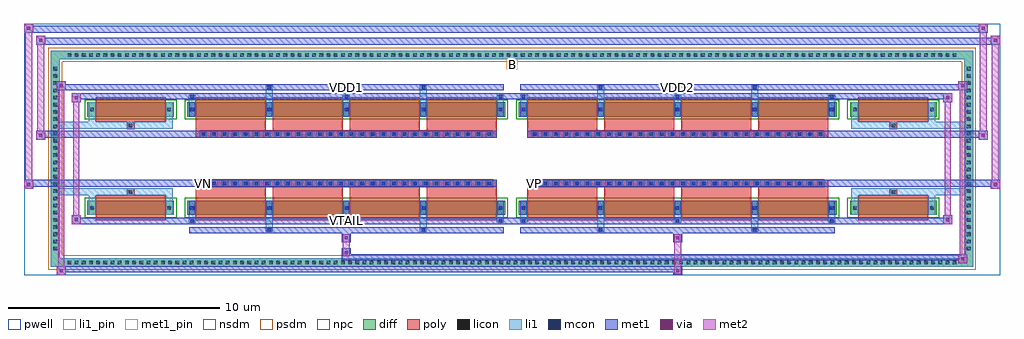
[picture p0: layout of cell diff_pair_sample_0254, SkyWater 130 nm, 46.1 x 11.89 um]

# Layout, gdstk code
import gdstk
lib = gdstk.Library(unit=1e-6, precision=5e-09)
def R(c, l, rs):  # rectangles x0, y0, x1, y1
    for r in rs: c.add(gdstk.rectangle(r[:2], r[2:], *l))
def A(c, l, x, y, w, h, nx, ny, dx, dy):  # array of equal rectangles
    R(c, l, [(x+i*dx, y+j*dy, x+i*dx+w, y+j*dy+h) for i in range(nx) for j in range(ny)])
def P(c, l, *ps):  # polygons
    for p in ps: c.add(gdstk.Polygon(p, *l))
pwell = (64, 44)
diff = (65, 20)
poly = (66, 20)
licon = (66, 44)
li1_pin = (67, 16)
li1 = (67, 20)
mcon = (67, 44)
met1_pin = (68, 16)
met1 = (68, 20)
via = (68, 44)
met2 = (69, 20)
nsdm = (93, 44)
psdm = (94, 20)
npc = (95, 20)

diff_pair_sample_0254 = lib.new_cell('diff_pair_sample_0254')
R(diff_pair_sample_0254, pwell, [(-23.05,-5.51,23.05,6.38), (-20.37,-3.7,-0.01,-0.8), (0.01,-3.7,20.37,-0.8), (-20.37,0.8,-0.01,3.7), (0.01,0.8,20.37,3.7)])
A(diff_pair_sample_0254, diff, -21.115, -5.11, 0.41, 0.41, 124, 2, 0.34, 9.81)
A(diff_pair_sample_0254, diff, -21.78, -4.455, 0.41, 0.41, 1, 26, 0, 0.34)
A(diff_pair_sample_0254, diff, 21.37, -4.455, 0.41, 0.41, 1, 26, 0, 0.34)
R(diff_pair_sample_0254, diff, [(-21.115,-5.11,21.115,-4.7), (-21.78,-4.455,-21.37,4.455), (21.37,-4.455,21.78,4.455), (-20.06,-2.655,-15.97,-1.985), (-15.33,-2.655,-0.32,-1.985), (0.32,-2.655,15.33,-1.985), (15.97,-2.655,20.06,-1.985), (-20.06,1.985,-15.97,2.655), (-15.33,1.985,-0.32,2.655), (0.32,1.985,15.33,2.655), (15.97,1.985,20.06,2.655), (-21.115,4.7,21.115,5.11)])
P(diff_pair_sample_0254, diff, [(21.78,5.11),(-21.78,5.11),(-21.78,-4.7),(-21.37,-4.7),(-21.37,4.7),(21.37,4.7),(21.37,-4.7),(-21.37,-4.7),(-21.78,-4.7),(-21.78,-5.11),(21.78,-5.11)])
A(diff_pair_sample_0254, poly, -14.94, -2.905, 3.31, 1.17, 4, 2, 3.64, 4.64)
A(diff_pair_sample_0254, poly, 0.71, -2.905, 3.31, 1.17, 4, 2, 3.64, 4.64)
A(diff_pair_sample_0254, poly, -14.94, -1.735, 3.31, 0.405, 4, 2, 3.64, 3.065)
A(diff_pair_sample_0254, poly, 0.71, -1.735, 3.31, 0.405, 4, 2, 3.64, 3.065)
A(diff_pair_sample_0254, poly, -14.74, -1.33, 0.33, 0.33, 28, 2, 0.5, 2.33)
A(diff_pair_sample_0254, poly, 0.91, -1.33, 0.33, 0.33, 28, 2, 0.5, 2.33)
R(diff_pair_sample_0254, poly, [(-19.67,-2.905,-16.36,-1.735), (16.36,-2.905,19.67,-1.735), (-18.18,-1.735,-17.85,-1.405), (-18.18,-1.735,-17.85,-1.405), (17.85,-1.735,18.18,-1.405), (17.85,-1.735,18.18,-1.405), (-14.94,-1.33,-0.71,-1), (0.71,-1.33,14.94,-1), (-14.94,1,-0.71,1.33), (0.71,1,14.94,1.33), (-18.18,1.405,-17.85,1.735), (-18.18,1.405,-17.85,1.735), (17.85,1.405,18.18,1.735), (17.85,1.405,18.18,1.735), (-19.67,1.735,-16.36,2.905), (16.36,1.735,19.67,2.905)])
A(diff_pair_sample_0254, licon, -20.995, -4.99, 0.17, 0.17, 124, 2, 0.34, 9.81)
A(diff_pair_sample_0254, licon, -21.66, -4.335, 0.17, 0.17, 1, 26, 0, 0.34)
A(diff_pair_sample_0254, licon, 21.49, -4.335, 0.17, 0.17, 1, 26, 0, 0.34)
A(diff_pair_sample_0254, licon, -15.19, -2.405, 0.17, 0.17, 5, 2, 3.64, 4.64)
A(diff_pair_sample_0254, licon, 0.46, -2.405, 0.17, 0.17, 5, 2, 3.64, 4.64)
A(diff_pair_sample_0254, licon, -14.66, -1.25, 0.17, 0.17, 28, 2, 0.5, 2.33)
A(diff_pair_sample_0254, licon, 0.99, -1.25, 0.17, 0.17, 28, 2, 0.5, 2.33)
R(diff_pair_sample_0254, licon, [(-19.92,-2.405,-19.75,-2.235), (-16.28,-2.405,-16.11,-2.235), (16.11,-2.405,16.28,-2.235), (19.75,-2.405,19.92,-2.235), (-18.1,-1.655,-17.93,-1.485), (17.93,-1.655,18.1,-1.485), (-18.1,1.485,-17.93,1.655), (17.93,1.485,18.1,1.655), (-19.92,2.235,-19.75,2.405), (-16.28,2.235,-16.11,2.405), (16.11,2.235,16.28,2.405), (19.75,2.235,19.92,2.405)])
R(diff_pair_sample_0254, li1_pin, [(-0.25,4.2,0.25,4.7)])
A(diff_pair_sample_0254, li1, -21.075, -5.07, 0.33, 0.33, 124, 2, 0.34, 9.81)
A(diff_pair_sample_0254, li1, -21.74, -4.415, 0.33, 0.33, 1, 26, 0, 0.34)
A(diff_pair_sample_0254, li1, 21.41, -4.415, 0.33, 0.33, 1, 26, 0, 0.34)
A(diff_pair_sample_0254, li1, -15.27, -3.03, 0.33, 0.375, 3, 2, 7.28, 5.685)
A(diff_pair_sample_0254, li1, -15.19, -3.03, 0.17, 0.17, 3, 2, 7.28, 5.89)
A(diff_pair_sample_0254, li1, 0.38, -3.03, 0.33, 0.375, 3, 2, 7.28, 5.685)
A(diff_pair_sample_0254, li1, 0.46, -3.03, 0.17, 0.17, 3, 2, 7.28, 5.89)
A(diff_pair_sample_0254, li1, -15.27, -2.655, 0.33, 0.67, 5, 2, 3.64, 4.64)
A(diff_pair_sample_0254, li1, 0.38, -2.655, 0.33, 0.67, 5, 2, 3.64, 4.64)
A(diff_pair_sample_0254, li1, -15.27, -2.485, 0.33, 0.33, 5, 2, 3.64, 4.64)
A(diff_pair_sample_0254, li1, 0.38, -2.485, 0.33, 0.33, 5, 2, 3.64, 4.64)
A(diff_pair_sample_0254, li1, -14.74, -1.33, 0.33, 0.33, 28, 2, 0.5, 2.33)
A(diff_pair_sample_0254, li1, 0.91, -1.33, 0.33, 0.33, 28, 2, 0.5, 2.33)
R(diff_pair_sample_0254, li1, [(-21.78,-5.11,-21.37,-4.7), (-21.78,-5.11,-21.37,-4.7), (-21.37,-5.11,21.37,-4.7), (21.37,-5.11,21.78,-4.7), (21.37,-5.11,21.78,-4.7), (-21.78,-4.7,-21.37,4.7), (21.37,-4.7,21.78,4.7), (-11.63,-3.46,-11.3,-2.655), (-11.55,-3.46,-11.38,-3.29), (-4.35,-3.46,-4.02,-2.655), (-4.27,-3.46,-4.1,-3.29), (4.02,-3.46,4.35,-2.655), (4.1,-3.46,4.27,-3.29), (11.3,-3.46,11.63,-2.655), (11.38,-3.46,11.55,-3.29), (-20,-2.655,-19.67,-1.985), (-16.36,-2.655,-16.03,-1.985), (16.03,-2.655,16.36,-1.985), (19.67,-2.655,20,-1.985), (-20,-2.485,-19.67,-2.155), (-16.36,-2.485,-16.03,-2.155), (16.03,-2.485,16.36,-2.155), (19.67,-2.485,20,-2.155), (-15.19,-2.405,-15.02,-2.235), (-15.19,-2.405,-15.02,-2.235), (-11.55,-2.405,-11.38,-2.235), (-11.55,-2.405,-11.38,-2.235), (-7.91,-2.405,-7.74,-2.235), (-7.91,-2.405,-7.74,-2.235), (-4.27,-2.405,-4.1,-2.235), (-4.27,-2.405,-4.1,-2.235), (-0.63,-2.405,-0.46,-2.235), (-0.63,-2.405,-0.46,-2.235), (0.46,-2.405,0.63,-2.235), (0.46,-2.405,0.63,-2.235), (4.1,-2.405,4.27,-2.235), (4.1,-2.405,4.27,-2.235), (7.74,-2.405,7.91,-2.235), (7.74,-2.405,7.91,-2.235), (11.38,-2.405,11.55,-2.235), (11.38,-2.405,11.55,-2.235), (15.02,-2.405,15.19,-2.235), (15.02,-2.405,15.19,-2.235), (-20,-1.985,-19.67,-1.405), (-16.36,-1.985,-16.03,-1.405), (16.03,-1.985,16.36,-1.405), (19.67,-1.985,20,-1.405), (-21.78,-1.735,-18.18,-1.405), (-20,-1.735,-18.18,-1.405), (-18.18,-1.735,-17.85,-1.405), (-17.85,-1.735,-16.03,-1.405), (16.03,-1.735,17.85,-1.405), (17.85,-1.735,18.18,-1.405), (17.85,-1.735,21.78,-1.405), (18.18,-1.735,20,-1.405), (-21.78,1.405,-18.18,1.735), (-20,1.405,-18.18,1.735), (-20,1.405,-19.67,1.985), (-18.18,1.405,-17.85,1.735), (-17.85,1.405,-16.03,1.735), (-16.36,1.405,-16.03,1.985), (16.03,1.405,17.85,1.735), (16.03,1.405,16.36,1.985), (17.85,1.405,18.18,1.735), (17.85,1.405,21.78,1.735), (18.18,1.405,20,1.735), (19.67,1.405,20,1.985), (-20,1.985,-19.67,2.655), (-16.36,1.985,-16.03,2.655), (16.03,1.985,16.36,2.655), (19.67,1.985,20,2.655), (-20,2.155,-19.67,2.485), (-16.36,2.155,-16.03,2.485), (16.03,2.155,16.36,2.485), (19.67,2.155,20,2.485), (-15.19,2.235,-15.02,2.405), (-15.19,2.235,-15.02,2.405), (-11.55,2.235,-11.38,2.405), (-11.55,2.235,-11.38,2.405), (-7.91,2.235,-7.74,2.405), (-7.91,2.235,-7.74,2.405), (-4.27,2.235,-4.1,2.405), (-4.27,2.235,-4.1,2.405), (-0.63,2.235,-0.46,2.405), (-0.63,2.235,-0.46,2.405), (0.46,2.235,0.63,2.405), (0.46,2.235,0.63,2.405), (4.1,2.235,4.27,2.405), (4.1,2.235,4.27,2.405), (7.74,2.235,7.91,2.405), (7.74,2.235,7.91,2.405), (11.38,2.235,11.55,2.405), (11.38,2.235,11.55,2.405), (15.02,2.235,15.19,2.405), (15.02,2.235,15.19,2.405), (-11.63,2.655,-11.3,3.46), (-4.35,2.655,-4.02,3.46), (4.02,2.655,4.35,3.46), (11.3,2.655,11.63,3.46), (-11.55,3.29,-11.38,3.46), (-4.27,3.29,-4.1,3.46), (4.1,3.29,4.27,3.46), (11.38,3.29,11.55,3.46), (-21.78,4.7,-21.37,5.11), (-21.78,4.7,-21.37,5.11), (-21.37,4.7,21.37,5.11), (21.37,4.7,21.78,5.11), (21.37,4.7,21.78,5.11)])
A(diff_pair_sample_0254, mcon, -15.19, -3.03, 0.17, 0.17, 3, 2, 7.28, 5.89)
A(diff_pair_sample_0254, mcon, 0.46, -3.03, 0.17, 0.17, 3, 2, 7.28, 5.89)
A(diff_pair_sample_0254, mcon, -15.19, -2.405, 0.17, 0.17, 5, 2, 3.64, 4.64)
A(diff_pair_sample_0254, mcon, 0.46, -2.405, 0.17, 0.17, 5, 2, 3.64, 4.64)
A(diff_pair_sample_0254, mcon, -14.66, -1.25, 0.17, 0.17, 28, 2, 0.5, 2.33)
A(diff_pair_sample_0254, mcon, 0.99, -1.25, 0.17, 0.17, 28, 2, 0.5, 2.33)
R(diff_pair_sample_0254, mcon, [(-11.55,-3.46,-11.38,-3.29), (-4.27,-3.46,-4.1,-3.29), (4.1,-3.46,4.27,-3.29), (11.38,-3.46,11.55,-3.29), (-11.55,3.29,-11.38,3.46), (-4.27,3.29,-4.1,3.46), (4.1,3.29,4.27,3.46), (11.38,3.29,11.55,3.46)])
R(diff_pair_sample_0254, met1_pin, [(-7.96,-3.07,-7.69,-2.8), (-14.71,-1.29,-14.44,-1.02), (0.94,-1.29,1.21,-1.02), (-7.96,3.25,-7.69,3.52), (7.69,3.25,7.96,3.52)])
A(diff_pair_sample_0254, met1, -15.25, -3.09, 0.29, 0.29, 3, 2, 7.28, 5.89)
A(diff_pair_sample_0254, met1, 0.4, -3.09, 0.29, 0.29, 3, 2, 7.28, 5.89)
A(diff_pair_sample_0254, met1, -15.25, -2.655, 0.29, 0.67, 5, 2, 3.64, 4.64)
A(diff_pair_sample_0254, met1, 0.4, -2.655, 0.29, 0.67, 5, 2, 3.64, 4.64)
A(diff_pair_sample_0254, met1, -15.25, -2.465, 0.29, 0.29, 5, 2, 3.64, 4.64)
A(diff_pair_sample_0254, met1, 0.4, -2.465, 0.29, 0.29, 5, 2, 3.64, 4.64)
A(diff_pair_sample_0254, met1, -14.72, -1.31, 0.29, 0.29, 28, 2, 0.5, 2.33)
A(diff_pair_sample_0254, met1, 0.93, -1.31, 0.29, 0.29, 28, 2, 0.5, 2.33)
R(diff_pair_sample_0254, met1, [(-21.51,-5.51,-21.08,-5.08), (7.61,-5.51,8.04,-5.08), (-21.51,-5.37,8.04,-5.08), (21.08,-4.94,21.51,-4.51), (-8.04,-4.8,21.51,-4.51), (-8.04,-4.66,-7.61,-4.23), (-8.04,-3.95,-7.61,-3.52), (7.61,-3.95,8.04,-3.52), (-15.25,-3.52,-0.4,-3.23), (-11.61,-3.52,-11.32,-3.23), (-4.33,-3.52,-4.04,-3.23), (0.4,-3.52,15.25,-3.23), (4.04,-3.52,4.33,-3.23), (11.32,-3.52,11.61,-3.23), (-20.8,-3.09,-20.37,-2.66), (-20.8,-3.09,-15.25,-2.8), (-15.25,-3.09,-0.4,-2.8), (-0.4,-3.09,0.4,-2.8), (0.4,-3.09,15.25,-2.8), (15.25,-3.09,20.8,-2.8), (20.37,-3.09,20.8,-2.66), (-23.05,-1.43,-22.62,-1), (22.62,-1.43,23.05,-1), (-23.05,-1.33,-0.71,-1), (-14.94,-1.33,-0.71,-1), (0.71,-1.33,14.94,-1), (0.71,-1.33,23.05,-1), (-22.48,0.9,-22.05,1.33), (22.05,0.9,22.48,1.33), (-22.48,1,-14.94,1.33), (-14.94,1,-0.71,1.33), (0.71,1,14.94,1.33), (14.94,1,22.48,1.33), (-20.8,2.66,-20.37,3.09), (20.37,2.66,20.8,3.09), (-20.8,2.8,-15.25,3.09), (-15.25,2.8,-0.4,3.09), (-0.4,2.8,0.4,3.09), (0.4,2.8,15.25,3.09), (15.25,2.8,20.8,3.09), (-21.51,3.23,-21.08,3.66), (-21.51,3.23,-15.25,3.52), (-15.25,3.23,-0.4,3.52), (-11.61,3.23,-11.32,3.52), (-4.33,3.23,-4.04,3.52), (0.4,3.23,15.25,3.52), (4.04,3.23,4.33,3.52), (11.32,3.23,11.61,3.52), (15.25,3.23,21.51,3.52), (21.08,3.23,21.51,3.66), (-22.48,5.38,-22.05,5.81), (-22.48,5.38,-20.37,5.71), (-20.37,5.38,20.37,5.71), (20.37,5.38,23.05,5.71), (22.62,5.38,23.05,5.81), (-23.05,5.95,-22.62,6.38), (-23.05,5.95,-20.37,6.28), (-20.37,5.95,20.37,6.28), (20.37,5.95,22.48,6.28), (22.05,5.95,22.48,6.38)])
R(diff_pair_sample_0254, via, [(-21.37,-5.37,-21.22,-5.22), (7.75,-5.37,7.9,-5.22), (21.22,-4.8,21.37,-4.65), (-7.9,-4.52,-7.75,-4.37), (-7.9,-3.81,-7.75,-3.66), (7.75,-3.81,7.9,-3.66), (-20.66,-2.95,-20.51,-2.8), (20.51,-2.95,20.66,-2.8), (-22.91,-1.29,-22.76,-1.14), (22.76,-1.29,22.91,-1.14), (-22.34,1.04,-22.19,1.19), (22.19,1.04,22.34,1.19), (-20.66,2.8,-20.51,2.95), (20.51,2.8,20.66,2.95), (-21.37,3.37,-21.22,3.52), (21.22,3.37,21.37,3.52), (-22.34,5.52,-22.19,5.67), (22.76,5.52,22.91,5.67), (-22.91,6.09,-22.76,6.24), (22.19,6.09,22.34,6.24)])
R(diff_pair_sample_0254, met2, [(-21.51,-5.51,-21.08,-5.08), (-21.44,-5.51,-21.15,3.66), (-21.15,-5.51,-21.08,-5.08), (-21.46,-5.46,-21.13,-5.13), (7.66,-5.46,7.99,-5.13), (7.66,-5.13,7.99,-3.9), (21.08,-4.94,21.51,-4.51), (21.15,-4.94,21.44,3.66), (21.44,-4.94,21.51,-4.51), (21.13,-4.89,21.46,-4.56), (-7.99,-4.61,-7.66,-4.28), (-7.99,-4.28,-7.66,-3.9), (-7.99,-3.9,-7.66,-3.57), (7.66,-3.9,7.99,-3.57), (-20.8,-3.09,-20.37,-2.66), (-20.73,-3.09,-20.44,3.09), (-20.44,-3.09,-20.37,-2.66), (20.37,-3.09,20.8,-2.66), (20.44,-3.09,20.73,3.09), (20.73,-3.09,20.8,-2.66), (-20.75,-3.04,-20.42,-2.71), (20.42,-3.04,20.75,-2.71), (-23.05,-1.43,-22.62,-1), (-23,-1.43,-22.67,6.38), (-22.67,-1.43,-22.62,-1), (22.62,-1.43,23.05,-1), (22.67,-1.43,23,5.81), (23,-1.43,23.05,-1), (-23,-1.38,-22.67,-1.05), (22.67,-1.38,23,-1.05), (-22.48,0.9,-22.05,1.33), (-22.43,0.9,-22.1,5.81), (-22.1,0.9,-22.05,1.33), (22.05,0.9,22.48,1.33), (22.1,0.9,22.43,6.38), (22.43,0.9,22.48,1.33), (-22.43,0.95,-22.1,1.28), (22.1,0.95,22.43,1.28), (-20.8,2.66,-20.37,3.09), (-20.44,2.66,-20.37,3.09), (20.37,2.66,20.8,3.09), (20.73,2.66,20.8,3.09), (-20.75,2.71,-20.42,3.04), (20.42,2.71,20.75,3.04), (-21.51,3.23,-21.08,3.66), (-21.15,3.23,-21.08,3.66), (21.08,3.23,21.51,3.66), (21.44,3.23,21.51,3.66), (-21.46,3.28,-21.13,3.61), (21.13,3.28,21.46,3.61), (-22.48,5.38,-22.05,5.81), (-22.1,5.38,-22.05,5.81), (22.62,5.38,23.05,5.81), (23,5.38,23.05,5.81), (-22.43,5.43,-22.1,5.76), (22.67,5.43,23,5.76), (-23.05,5.95,-22.62,6.38), (-22.67,5.95,-22.62,6.38), (22.05,5.95,22.48,6.38), (22.43,5.95,22.48,6.38), (-23,6,-22.67,6.33), (22.1,6,22.43,6.33)])
R(diff_pair_sample_0254, nsdm, [(-20.19,-2.785,-15.84,-1.855), (-15.46,-2.785,-0.19,-1.855), (0.19,-2.785,15.46,-1.855), (15.84,-2.785,20.19,-1.855), (-20.19,1.855,-15.84,2.785), (-15.46,1.855,-0.19,2.785), (0.19,1.855,15.46,2.785), (15.84,1.855,20.19,2.785)])
P(diff_pair_sample_0254, psdm, [(21.91,5.24),(-21.91,5.24),(-21.91,-4.57),(-21.24,-4.57),(-21.24,4.57),(21.24,4.57),(21.24,-4.57),(-21.24,-4.57),(-21.91,-4.57),(-21.91,-5.24),(21.91,-5.24)])
A(diff_pair_sample_0254, npc, -14.76, -1.35, 0.37, 0.37, 28, 2, 0.5, 2.33)
A(diff_pair_sample_0254, npc, 0.89, -1.35, 0.37, 0.37, 28, 2, 0.5, 2.33)
R(diff_pair_sample_0254, npc, [(-18.2,-1.755,-17.83,-1.385), (17.83,-1.755,18.2,-1.385), (-14.76,-1.35,-13.89,-0.98), (-14.76,-1.35,-13.89,-0.98), (-14.26,-1.35,-13.39,-0.98), (-14.26,-1.35,-13.39,-0.98), (-13.76,-1.35,-12.89,-0.98), (-13.76,-1.35,-12.89,-0.98), (-13.26,-1.35,-12.39,-0.98), (-13.26,-1.35,-12.39,-0.98), (-12.76,-1.35,-11.89,-0.98), (-12.76,-1.35,-11.89,-0.98), (-12.26,-1.35,-11.39,-0.98), (-12.26,-1.35,-11.39,-0.98), (-11.76,-1.35,-10.89,-0.98), (-11.76,-1.35,-10.89,-0.98), (-11.26,-1.35,-10.39,-0.98), (-11.26,-1.35,-10.39,-0.98), (-10.76,-1.35,-9.89,-0.98), (-10.76,-1.35,-9.89,-0.98), (-10.26,-1.35,-9.39,-0.98), (-10.26,-1.35,-9.39,-0.98), (-9.76,-1.35,-8.89,-0.98), (-9.76,-1.35,-8.89,-0.98), (-9.26,-1.35,-8.39,-0.98), (-9.26,-1.35,-8.39,-0.98), (-8.76,-1.35,-7.89,-0.98), (-8.76,-1.35,-7.89,-0.98), (-8.26,-1.35,-7.39,-0.98), (-8.26,-1.35,-7.39,-0.98), (-7.76,-1.35,-6.89,-0.98), (-7.76,-1.35,-6.89,-0.98), (-7.26,-1.35,-6.39,-0.98), (-7.26,-1.35,-6.39,-0.98), (-6.76,-1.35,-5.89,-0.98), (-6.76,-1.35,-5.89,-0.98), (-6.26,-1.35,-5.39,-0.98), (-6.26,-1.35,-5.39,-0.98), (-5.76,-1.35,-4.89,-0.98), (-5.76,-1.35,-4.89,-0.98), (-5.26,-1.35,-4.39,-0.98), (-5.26,-1.35,-4.39,-0.98), (-4.76,-1.35,-3.89,-0.98), (-4.76,-1.35,-3.89,-0.98), (-4.26,-1.35,-3.39,-0.98), (-4.26,-1.35,-3.39,-0.98), (-3.76,-1.35,-2.89,-0.98), (-3.76,-1.35,-2.89,-0.98), (-3.26,-1.35,-2.39,-0.98), (-3.26,-1.35,-2.39,-0.98), (-2.76,-1.35,-1.89,-0.98), (-2.76,-1.35,-1.89,-0.98), (-2.26,-1.35,-1.39,-0.98), (-2.26,-1.35,-1.39,-0.98), (-1.76,-1.35,-0.89,-0.98), (-1.76,-1.35,-0.89,-0.98), (0.89,-1.35,1.76,-0.98), (0.89,-1.35,1.76,-0.98), (1.39,-1.35,2.26,-0.98), (1.39,-1.35,2.26,-0.98), (1.89,-1.35,2.76,-0.98), (1.89,-1.35,2.76,-0.98), (2.39,-1.35,3.26,-0.98), (2.39,-1.35,3.26,-0.98), (2.89,-1.35,3.76,-0.98), (2.89,-1.35,3.76,-0.98), (3.39,-1.35,4.26,-0.98), (3.39,-1.35,4.26,-0.98), (3.89,-1.35,4.76,-0.98), (3.89,-1.35,4.76,-0.98), (4.39,-1.35,5.26,-0.98), (4.39,-1.35,5.26,-0.98), (4.89,-1.35,5.76,-0.98), (4.89,-1.35,5.76,-0.98), (5.39,-1.35,6.26,-0.98), (5.39,-1.35,6.26,-0.98), (5.89,-1.35,6.76,-0.98), (5.89,-1.35,6.76,-0.98), (6.39,-1.35,7.26,-0.98), (6.39,-1.35,7.26,-0.98), (6.89,-1.35,7.76,-0.98), (6.89,-1.35,7.76,-0.98), (7.39,-1.35,8.26,-0.98), (7.39,-1.35,8.26,-0.98), (7.89,-1.35,8.76,-0.98), (7.89,-1.35,8.76,-0.98), (8.39,-1.35,9.26,-0.98), (8.39,-1.35,9.26,-0.98), (8.89,-1.35,9.76,-0.98), (8.89,-1.35,9.76,-0.98), (9.39,-1.35,10.26,-0.98), (9.39,-1.35,10.26,-0.98), (9.89,-1.35,10.76,-0.98), (9.89,-1.35,10.76,-0.98), (10.39,-1.35,11.26,-0.98), (10.39,-1.35,11.26,-0.98), (10.89,-1.35,11.76,-0.98), (10.89,-1.35,11.76,-0.98), (11.39,-1.35,12.26,-0.98), (11.39,-1.35,12.26,-0.98), (11.89,-1.35,12.76,-0.98), (11.89,-1.35,12.76,-0.98), (12.39,-1.35,13.26,-0.98), (12.39,-1.35,13.26,-0.98), (12.89,-1.35,13.76,-0.98), (12.89,-1.35,13.76,-0.98), (13.39,-1.35,14.26,-0.98), (13.39,-1.35,14.26,-0.98), (13.89,-1.35,14.76,-0.98), (13.89,-1.35,14.76,-0.98), (-14.76,0.98,-13.89,1.35), (-14.76,0.98,-13.89,1.35), (-14.26,0.98,-13.39,1.35), (-14.26,0.98,-13.39,1.35), (-13.76,0.98,-12.89,1.35), (-13.76,0.98,-12.89,1.35), (-13.26,0.98,-12.39,1.35), (-13.26,0.98,-12.39,1.35), (-12.76,0.98,-11.89,1.35), (-12.76,0.98,-11.89,1.35), (-12.26,0.98,-11.39,1.35), (-12.26,0.98,-11.39,1.35), (-11.76,0.98,-10.89,1.35), (-11.76,0.98,-10.89,1.35), (-11.26,0.98,-10.39,1.35), (-11.26,0.98,-10.39,1.35), (-10.76,0.98,-9.89,1.35), (-10.76,0.98,-9.89,1.35), (-10.26,0.98,-9.39,1.35), (-10.26,0.98,-9.39,1.35), (-9.76,0.98,-8.89,1.35), (-9.76,0.98,-8.89,1.35), (-9.26,0.98,-8.39,1.35), (-9.26,0.98,-8.39,1.35), (-8.76,0.98,-7.89,1.35), (-8.76,0.98,-7.89,1.35), (-8.26,0.98,-7.39,1.35), (-8.26,0.98,-7.39,1.35), (-7.76,0.98,-6.89,1.35), (-7.76,0.98,-6.89,1.35), (-7.26,0.98,-6.39,1.35), (-7.26,0.98,-6.39,1.35), (-6.76,0.98,-5.89,1.35), (-6.76,0.98,-5.89,1.35), (-6.26,0.98,-5.39,1.35), (-6.26,0.98,-5.39,1.35), (-5.76,0.98,-4.89,1.35), (-5.76,0.98,-4.89,1.35), (-5.26,0.98,-4.39,1.35), (-5.26,0.98,-4.39,1.35), (-4.76,0.98,-3.89,1.35), (-4.76,0.98,-3.89,1.35), (-4.26,0.98,-3.39,1.35), (-4.26,0.98,-3.39,1.35), (-3.76,0.98,-2.89,1.35), (-3.76,0.98,-2.89,1.35), (-3.26,0.98,-2.39,1.35), (-3.26,0.98,-2.39,1.35), (-2.76,0.98,-1.89,1.35), (-2.76,0.98,-1.89,1.35), (-2.26,0.98,-1.39,1.35), (-2.26,0.98,-1.39,1.35), (-1.76,0.98,-0.89,1.35), (-1.76,0.98,-0.89,1.35), (0.89,0.98,1.76,1.35), (0.89,0.98,1.76,1.35), (1.39,0.98,2.26,1.35), (1.39,0.98,2.26,1.35), (1.89,0.98,2.76,1.35), (1.89,0.98,2.76,1.35), (2.39,0.98,3.26,1.35), (2.39,0.98,3.26,1.35), (2.89,0.98,3.76,1.35), (2.89,0.98,3.76,1.35), (3.39,0.98,4.26,1.35), (3.39,0.98,4.26,1.35), (3.89,0.98,4.76,1.35), (3.89,0.98,4.76,1.35), (4.39,0.98,5.26,1.35), (4.39,0.98,5.26,1.35), (4.89,0.98,5.76,1.35), (4.89,0.98,5.76,1.35), (5.39,0.98,6.26,1.35), (5.39,0.98,6.26,1.35), (5.89,0.98,6.76,1.35), (5.89,0.98,6.76,1.35), (6.39,0.98,7.26,1.35), (6.39,0.98,7.26,1.35), (6.89,0.98,7.76,1.35), (6.89,0.98,7.76,1.35), (7.39,0.98,8.26,1.35), (7.39,0.98,8.26,1.35), (7.89,0.98,8.76,1.35), (7.89,0.98,8.76,1.35), (8.39,0.98,9.26,1.35), (8.39,0.98,9.26,1.35), (8.89,0.98,9.76,1.35), (8.89,0.98,9.76,1.35), (9.39,0.98,10.26,1.35), (9.39,0.98,10.26,1.35), (9.89,0.98,10.76,1.35), (9.89,0.98,10.76,1.35), (10.39,0.98,11.26,1.35), (10.39,0.98,11.26,1.35), (10.89,0.98,11.76,1.35), (10.89,0.98,11.76,1.35), (11.39,0.98,12.26,1.35), (11.39,0.98,12.26,1.35), (11.89,0.98,12.76,1.35), (11.89,0.98,12.76,1.35), (12.39,0.98,13.26,1.35), (12.39,0.98,13.26,1.35), (12.89,0.98,13.76,1.35), (12.89,0.98,13.76,1.35), (13.39,0.98,14.26,1.35), (13.39,0.98,14.26,1.35), (13.89,0.98,14.76,1.35), (13.89,0.98,14.76,1.35), (-18.2,1.385,-17.83,1.755), (17.83,1.385,18.2,1.755)])
diff_pair_sample_0254.add(gdstk.Label('VTAIL', (-7.825,-2.935), layer=68, texttype=5))
diff_pair_sample_0254.add(gdstk.Label('VN', (-14.575,-1.155), layer=68, texttype=5))
diff_pair_sample_0254.add(gdstk.Label('VP', (1.075,-1.155), layer=68, texttype=5))
diff_pair_sample_0254.add(gdstk.Label('B', (0,4.45), layer=67, texttype=5))
diff_pair_sample_0254.add(gdstk.Label('VDD2', (7.825,3.385), layer=68, texttype=5))
diff_pair_sample_0254.add(gdstk.Label('VDD1', (-7.825,3.385), layer=68, texttype=5))

lib.write_gds('diff_pair_sample_0254.gds')
